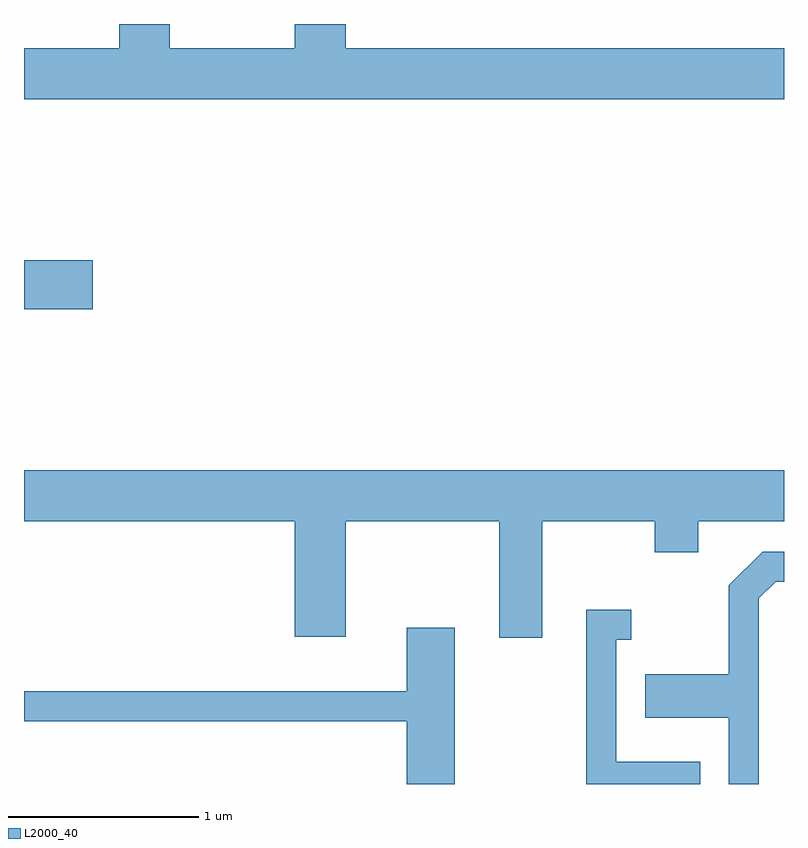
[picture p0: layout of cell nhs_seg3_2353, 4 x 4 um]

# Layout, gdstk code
import gdstk
lib = gdstk.Library(unit=1e-6, precision=1e-09)
def R(c, l, rs):  # rectangles x0, y0, x1, y1
    for r in rs: c.add(gdstk.rectangle(r[:2], r[2:], *l))
def P(c, l, *ps):  # polygons
    for p in ps: c.add(gdstk.Polygon(p, *l))
L2000_40 = (2000, 40)

nhs_seg3_2353 = lib.new_cell('nhs_seg3_2353')
R(nhs_seg3_2353, L2000_40, [(253.611,1200.391,253.974,1200.649)])
P(nhs_seg3_2353, L2000_40, [(257.611,1201.764),(255.304,1201.764),(255.304,1201.892),(255.036,1201.892),(255.036,1201.764),(254.379,1201.764),(254.379,1201.892),(254.111,1201.892),(254.111,1201.764),(253.611,1201.764),(253.611,1201.496),(257.611,1201.496)],
  [(256.339,1199.276),(256.931,1199.276),(256.931,1199.111),(257.159,1199.111),(257.159,1199.276),(257.611,1199.276),(257.611,1199.544),(253.611,1199.544),(253.611,1199.276),(255.036,1199.276),(255.036,1198.666),(255.304,1198.666),(255.304,1199.276),(256.111,1199.276),(256.111,1198.661),(256.339,1198.661)],
  [(257.479,1198.869),(257.567,1198.956),(257.611,1198.956),(257.611,1199.114),(257.498,1199.114),(257.321,1198.937),(257.321,1198.469),(256.881,1198.469),(256.881,1198.241),(257.321,1198.241),(257.321,1197.892),(257.479,1197.892)],
  [(257.169,1198.009),(256.729,1198.009),(256.729,1198.651),(256.808,1198.651),(256.808,1198.809),(256.571,1198.809),(256.571,1197.892),(257.169,1197.892)],
  [(255.879,1198.714),(255.626,1198.714),(255.626,1198.379),(253.611,1198.379),(253.611,1198.221),(255.626,1198.221),(255.626,1197.892),(255.879,1197.892)])

lib.write_gds('nhs_seg3_2353.gds')
